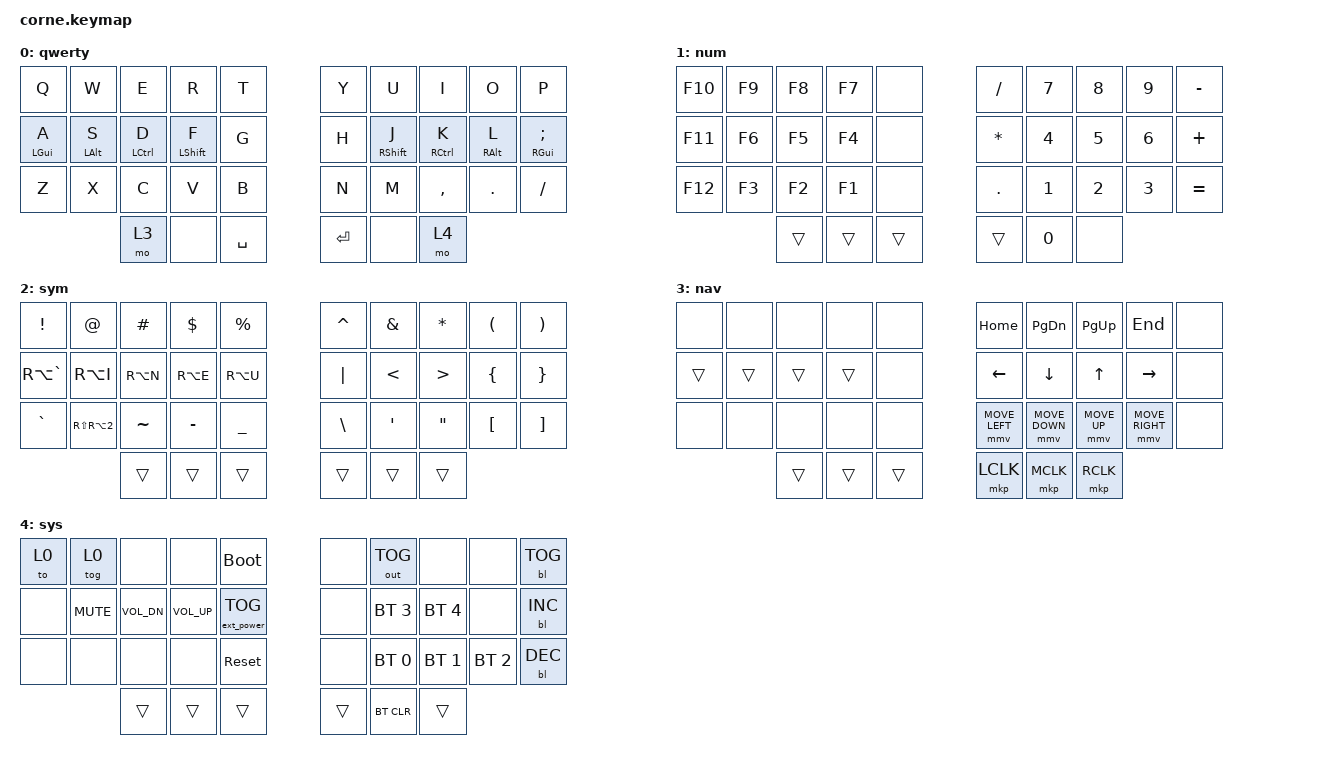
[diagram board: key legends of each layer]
/*
 * Copyright (c) 2020 The ZMK Contributors
 *
 * SPDX-License-Identifier: MIT
 */

#include <behaviors.dtsi>
#include <dt-bindings/zmk/backlight.h>
#include <dt-bindings/zmk/bt.h>
#include <dt-bindings/zmk/ext_power.h>
#include <dt-bindings/zmk/keys.h>
#include <dt-bindings/zmk/outputs.h>
#include <dt-bindings/zmk/pointing.h>
#include <dt-bindings/zmk/pointing.h>
#include <dt-bindings/zmk/pointing.h>

&lt { quick-tap-ms = <150>; };

&mmv { time-to-max-speed-ms = <50>; };

&msc { acceleration-exponent = <1>; };

/ {
    chosen { zmk,matrix_transform = &five_column_transform; };

    combos {
        compatible = "zmk,combos";

        esc {
            bindings = <&kp ESC>;
            key-positions = <1 0>;
        };

        tab {
            bindings = <&kp TAB>;
            key-positions = <10 11>;
        };

        caps_word {
            bindings = <&caps_word>;
            key-positions = <20 21>;
        };

        caps_lock {
            bindings = <&kp CAPS>;
            key-positions = <20 21 22>;
        };

        m_left {
            bindings = <&mmv MOVE_LEFT>;
            key-positions = <23 15>;
            layers = <3>;
        };

        m_down {
            bindings = <&mmv MOVE_DOWN>;
            key-positions = <23 16>;
            layers = <3>;
        };

        m_up {
            bindings = <&mmv MOVE_UP>;
            key-positions = <23 17>;
            layers = <3>;
        };

        m_right {
            bindings = <&mmv MOVE_RIGHT>;
            key-positions = <23 18>;
            layers = <3>;
        };

        ms_left {
            bindings = <&msc SCRL_LEFT>;
            key-positions = <23 15 22>;
            layers = <3>;
        };

        ms_down {
            bindings = <&msc SCRL_DOWN>;
            key-positions = <23 22 16>;
            layers = <3>;
        };

        ms_up {
            bindings = <&msc SCRL_UP>;
            key-positions = <23 22 17>;
            layers = <3>;
        };

        ms_right {
            bindings = <&msc SCRL_RIGHT>;
            key-positions = <23 22 18>;
            layers = <3>;
        };
    };

    behaviors {
        hm: hm {
            compatible = "zmk,behavior-hold-tap";
            label = "HM";
            bindings = <&kp>, <&kp>;

            #binding-cells = <2>;
            tapping-term-ms = <200>;
            quick-tap-ms = <150>;
            flavor = "tap-preferred";
        };
    };

    keymap {
        compatible = "zmk,keymap";

        qwerty {
            bindings = <
  &kp Q       &kp W       &kp E        &kp R        &kp T        &kp Y    &kp U        &kp I        &kp O       &kp P
  &hm LGUI A  &hm LALT S  &hm LCTRL D  &hm LSHFT F  &kp G        &kp H    &hm RSHFT J  &hm RCTRL K  &hm RALT L  &hm RGUI SEMI
  &kp Z       &kp X       &kp C        &kp V        &kp B        &kp N    &kp M        &kp COMMA    &kp DOT     &kp FSLH
                          &mo 3        &none        &kp SPACE    &kp RET  &none        &mo 4
            >;
        };

        num {
            bindings = <
  &kp F10  &kp F9  &kp F8  &kp F7  &none     &kp SLASH  &kp N7  &kp N8  &kp N9  &kp MINUS
  &kp F11  &kp F6  &kp F5  &kp F4  &none     &kp ASTRK  &kp N4  &kp N5  &kp N6  &kp PLUS
  &kp F12  &kp F3  &kp F2  &kp F1  &none     &kp DOT    &kp N1  &kp N2  &kp N3  &kp EQUAL
                   &trans  &trans  &trans    &trans     &kp N0  &none
            >;
        };

        sym {
            bindings = <
  &kp EXCL       &kp AT                &kp HASH   &kp DLLR   &kp PRCNT    &kp CARET      &kp AMPS          &kp ASTRK          &kp LPAR  &kp RPAR
  &kp RA(GRAVE)  &kp RA(I)             &kp RA(N)  &kp RA(E)  &kp RA(U)    &kp PIPE       &kp LT            &kp GT             &kp LBRC  &kp RBRC
  &kp GRAVE      &kp RS(RA(NUMBER_2))  &kp TILDE  &kp MINUS  &kp UNDER    &kp BACKSLASH  &kp SINGLE_QUOTE  &kp DOUBLE_QUOTES  &kp LBKT  &kp RBKT
                                       &trans     &trans     &trans       &trans         &trans            &trans
            >;
        };

        nav {
            bindings = <
  &none   &none   &none   &none   &none     &kp HOME        &kp PAGE_DOWN   &kp PAGE_UP   &kp END          &none
  &trans  &trans  &trans  &trans  &none     &kp LEFT        &kp DOWN        &kp UP_ARROW  &kp RIGHT        &none
  &none   &none   &none   &none   &none     &mmv MOVE_LEFT  &mmv MOVE_DOWN  &mmv MOVE_UP  &mmv MOVE_RIGHT  &none
                  &trans  &trans  &trans    &mkp LCLK       &mkp MCLK       &mkp RCLK
            >;
        };

        sys {
            bindings = <
  &to 0  &tog 0      &none         &none         &bootloader          &none   &out OUT_TOG  &none         &none         &bl BL_TOG
  &none  &kp K_MUTE  &kp C_VOL_DN  &kp C_VOL_UP  &ext_power EP_TOG    &none   &bt BT_SEL 3  &bt BT_SEL 4  &none         &bl BL_INC
  &none  &none       &none         &none         &sys_reset           &none   &bt BT_SEL 0  &bt BT_SEL 1  &bt BT_SEL 2  &bl BL_DEC
                     &trans        &trans        &trans               &trans  &bt BT_CLR    &trans
            >;
        };
    };

    conditional_layers { compatible = "zmk,conditional-layers"; };
};
